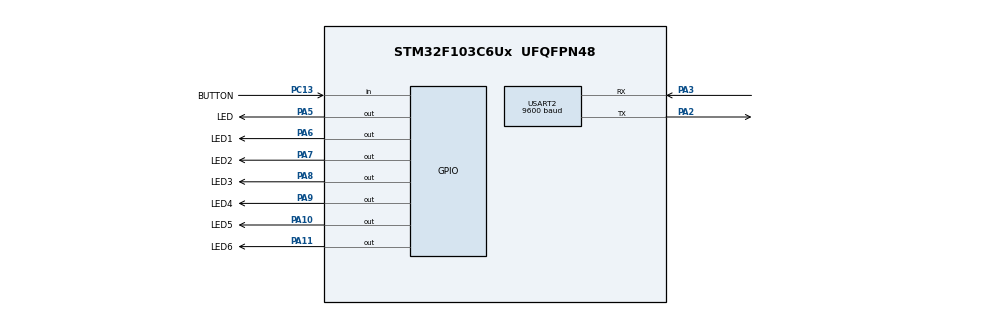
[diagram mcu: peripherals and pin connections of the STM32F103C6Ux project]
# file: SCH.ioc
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Mcu.Family=STM32F1
Mcu.Name=STM32F103C6Ux
Mcu.Package=UFQFPN48
NVIC.PriorityGroup=NVIC_PRIORITYGROUP_4
NVIC.TIM2_IRQn=true\:0\:0\:false\:false\:true\:true\:true\:true
PA10.GPIO_Label=LED5
PA10.Signal=GPIO_Output
PA11.GPIO_Label=LED6
PA11.Signal=GPIO_Output
PA2.Mode=Asynchronous
PA2.Signal=USART2_TX
PA3.Mode=Asynchronous
PA3.Signal=USART2_RX
PA5.GPIO_Label=LED
PA5.Signal=GPIO_Output
PA6.GPIO_Label=LED1
PA6.Signal=GPIO_Output
PA7.GPIO_Label=LED2
PA7.Signal=GPIO_Output
PA8.GPIO_Label=LED3
PA8.Signal=GPIO_Output
PA9.GPIO_Label=LED4
PA9.Signal=GPIO_Output
PC13-TAMPER-RTC.GPIO_Label=BUTTON
PC13-TAMPER-RTC.GPIO_PuPd=GPIO_PULLUP
PC13-TAMPER-RTC.Signal=GPIO_Input
ProjectManager.HeapSize=0x200
ProjectManager.StackSize=0x400
ProjectManager.TargetToolchain=STM32CubeIDE
RCC.APB1Freq_Value=8000000
RCC.APB2Freq_Value=8000000
TIM2.Period=9
TIM2.Prescaler=7999
USART2.BaudRate=9600
USART2.VirtualMode=VM_ASYNC
VP_SYS_VS_ND.Mode=No_Debug
VP_TIM2_VS_ClockSourceINT.Mode=Internal
board=custom

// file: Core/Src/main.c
/* USER CODE BEGIN Header */
/**
  ******************************************************************************
  * @file           : main.c
  * @brief          : Main program body
  ******************************************************************************
  * @attention
  *
  * <h2><center>&copy; Copyright (c) 2022 STMicroelectronics.
  * All rights reserved.</center></h2>
  *
  * This software component is licensed by ST under BSD 3-Clause license,
  * the "License"; You may not use this file except in compliance with the
  * License. You may obtain a copy of the License at:
  *                        opensource.org/licenses/BSD-3-Clause
  *
  ******************************************************************************
  */
/* USER CODE END Header */
#include "main.h"

/* USER CODE BEGIN Includes */
#include "sch.h"
#include "stdio.h"
#include "button.h"
/* USER CODE END Includes */

TIM_HandleTypeDef htim2;

UART_HandleTypeDef huart2;

/* USER CODE BEGIN PV */
int counter=0;
/* USER CODE END PV */

void SystemClock_Config(void);
static void MX_GPIO_Init(void);
static void MX_TIM2_Init(void);
static void MX_USART2_UART_Init(void);
/* USER CODE BEGIN PFP */
void blinking_led(void);
void blinking_led1(void);
void blinking_led2(void);
void blinking_led3(void);
void blinking_led4(void);
void blinking_led5(void);
void blinking_led6(void);
/* USER CODE END PFP */

/* USER CODE BEGIN 0 */
void blinking_led() {
	HAL_GPIO_TogglePin(LED_GPIO_Port, LED_Pin);
	char str[50];
	HAL_UART_Transmit(&huart2, str, sprintf(str, "%d%s", counter, ": Task 0 dispatch\r\n"), 1000);

}

void blinking_led1() {
	HAL_GPIO_TogglePin(LED1_GPIO_Port, LED1_Pin);
	char str[50];
	HAL_UART_Transmit(&huart2, str, sprintf(str, "%d%s", counter, ": Task 1 dispatch\r\n"), 1000);
}

void blinking_led2() {
	HAL_GPIO_TogglePin(LED2_GPIO_Port, LED2_Pin);
	char str[50];
	HAL_UART_Transmit(&huart2, str, sprintf(str, "%d%s", counter, ": Task 2 dispatch\r\n"), 1000);

}

void blinking_led3() {
	char str[50];
	HAL_UART_Transmit(&huart2, str, sprintf(str, "%d%s", counter, ": Task 3 dispatch\r\n"), 1000);
	HAL_GPIO_TogglePin(LED3_GPIO_Port, LED3_Pin);

}

void blinking_led4() {
	char str[50];
	HAL_UART_Transmit(&huart2, str, sprintf(str, "%d%s", counter, ": Task 4 dispatch\r\n"), 1000);
	HAL_GPIO_TogglePin(LED4_GPIO_Port, LED4_Pin);

}
void blinking_led5() {
	char str[50];
	HAL_UART_Transmit(&huart2, str, sprintf(str, "%d%s", counter, ": Task 5 dispatch\r\n"), 1000);
	HAL_GPIO_TogglePin(LED5_GPIO_Port, LED5_Pin);

}
void blinking_led6() {
	char str[50];
	if (flagForButtonPress[0]==1) {
		HAL_UART_Transmit(&huart2, str, sprintf(str, "%d%s", counter, ": Task 6 dispatch\r\n"), 1000);
		HAL_GPIO_TogglePin(LED6_GPIO_Port, LED6_Pin);
		flagForButtonPress[0]=0;
	}

}
/* USER CODE END 0 */

int main(void)
{

  /* MCU Configuration--------------------------------------------------------*/

  /* Reset of all peripherals, Initializes the Flash interface and the Systick. */
  HAL_Init();

  /* USER CODE BEGIN Init */
  SCH_Init();
  /* USER CODE END Init */

  /* Configure the system clock */
  SystemClock_Config();

  /* Initialize all configured peripherals */
  MX_GPIO_Init();
  MX_TIM2_Init();
  MX_USART2_UART_Init();
  /* USER CODE BEGIN 2 */
  HAL_TIM_Base_Start_IT(&htim2);
  SCH_Add_Task(blinking_led, 1, 0);//one shot task
  SCH_Add_Task(blinking_led1, 2, 50);
  SCH_Add_Task(blinking_led2, 3, 100);
  SCH_Add_Task(blinking_led3, 4, 150);
  SCH_Add_Task(blinking_led4, 5, 200);
  SCH_Add_Task(blinking_led5, 6, 250);
  SCH_Add_Task(blinking_led6, 7, 1);//button
  SCH_Add_Task(button_reading, 8, 1);//button
  /* USER CODE END 2 */

  /* Infinite loop */
  /* USER CODE BEGIN WHILE */
  while (1)
  {
	  SCH_Dispatch_Tasks () ;
    /* USER CODE END WHILE */

  }
}

void SystemClock_Config(void)
{
  RCC_OscInitTypeDef RCC_OscInitStruct = {0};
  RCC_ClkInitTypeDef RCC_ClkInitStruct = {0};

  /** Initializes the RCC Oscillators according to the specified parameters
  * in the RCC_OscInitTypeDef structure.
  */
  RCC_OscInitStruct.OscillatorType = RCC_OSCILLATORTYPE_HSI;
  RCC_OscInitStruct.HSIState = RCC_HSI_ON;
  RCC_OscInitStruct.HSICalibrationValue = RCC_HSICALIBRATION_DEFAULT;
  RCC_OscInitStruct.PLL.PLLState = RCC_PLL_NONE;
  if (HAL_RCC_OscConfig(&RCC_OscInitStruct) != HAL_OK)
  {
    Error_Handler();
  }

  /** Initializes the CPU, AHB and APB buses clocks
  */
  RCC_ClkInitStruct.ClockType = RCC_CLOCKTYPE_HCLK|RCC_CLOCKTYPE_SYSCLK
                              |RCC_CLOCKTYPE_PCLK1|RCC_CLOCKTYPE_PCLK2;
  RCC_ClkInitStruct.SYSCLKSource = RCC_SYSCLKSOURCE_HSI;
  RCC_ClkInitStruct.AHBCLKDivider = RCC_SYSCLK_DIV1;
  RCC_ClkInitStruct.APB1CLKDivider = RCC_HCLK_DIV1;
  RCC_ClkInitStruct.APB2CLKDivider = RCC_HCLK_DIV1;

  if (HAL_RCC_ClockConfig(&RCC_ClkInitStruct, FLASH_LATENCY_0) != HAL_OK)
  {
    Error_Handler();
  }
}

static void MX_TIM2_Init(void)
{

  TIM_ClockConfigTypeDef sClockSourceConfig = {0};
  TIM_MasterConfigTypeDef sMasterConfig = {0};

  htim2.Instance = TIM2;
  htim2.Init.Prescaler = 7999;
  htim2.Init.CounterMode = TIM_COUNTERMODE_UP;
  htim2.Init.Period = 9;
  htim2.Init.ClockDivision = TIM_CLOCKDIVISION_DIV1;
  htim2.Init.AutoReloadPreload = TIM_AUTORELOAD_PRELOAD_DISABLE;
  if (HAL_TIM_Base_Init(&htim2) != HAL_OK)
  {
    Error_Handler();
  }
  sClockSourceConfig.ClockSource = TIM_CLOCKSOURCE_INTERNAL;
  if (HAL_TIM_ConfigClockSource(&htim2, &sClockSourceConfig) != HAL_OK)
  {
    Error_Handler();
  }
  sMasterConfig.MasterOutputTrigger = TIM_TRGO_RESET;
  sMasterConfig.MasterSlaveMode = TIM_MASTERSLAVEMODE_DISABLE;
  if (HAL_TIMEx_MasterConfigSynchronization(&htim2, &sMasterConfig) != HAL_OK)
  {
    Error_Handler();
  }

}

static void MX_USART2_UART_Init(void)
{

  huart2.Instance = USART2;
  huart2.Init.BaudRate = 9600;
  huart2.Init.WordLength = UART_WORDLENGTH_8B;
  huart2.Init.StopBits = UART_STOPBITS_1;
  huart2.Init.Parity = UART_PARITY_NONE;
  huart2.Init.Mode = UART_MODE_TX_RX;
  huart2.Init.HwFlowCtl = UART_HWCONTROL_NONE;
  huart2.Init.OverSampling = UART_OVERSAMPLING_16;
  if (HAL_UART_Init(&huart2) != HAL_OK)
  {
    Error_Handler();
  }

}

static void MX_GPIO_Init(void)
{
  GPIO_InitTypeDef GPIO_InitStruct = {0};

  /* GPIO Ports Clock Enable */
  __HAL_RCC_GPIOC_CLK_ENABLE();
  __HAL_RCC_GPIOA_CLK_ENABLE();

  /*Configure GPIO pin Output Level */
  HAL_GPIO_WritePin(GPIOA, LED_Pin|LED1_Pin|LED2_Pin|LED3_Pin
                          |LED4_Pin|LED5_Pin|LED6_Pin, GPIO_PIN_RESET);

  /*Configure GPIO pin : BUTTON_Pin */
  GPIO_InitStruct.Pin = BUTTON_Pin;
  GPIO_InitStruct.Mode = GPIO_MODE_INPUT;
  GPIO_InitStruct.Pull = GPIO_PULLUP;
  HAL_GPIO_Init(BUTTON_GPIO_Port, &GPIO_InitStruct);

  /*Configure GPIO pins : LED_Pin LED1_Pin LED2_Pin LED3_Pin
                           LED4_Pin LED5_Pin LED6_Pin */
  GPIO_InitStruct.Pin = LED_Pin|LED1_Pin|LED2_Pin|LED3_Pin
                          |LED4_Pin|LED5_Pin|LED6_Pin;
  GPIO_InitStruct.Mode = GPIO_MODE_OUTPUT_PP;
  GPIO_InitStruct.Pull = GPIO_NOPULL;
  GPIO_InitStruct.Speed = GPIO_SPEED_FREQ_LOW;
  HAL_GPIO_Init(GPIOA, &GPIO_InitStruct);

}

/* USER CODE BEGIN 4 */
void HAL_TIM_PeriodElapsedCallback(TIM_HandleTypeDef *htim) {
	SCH_Update() ;
	counter+=10;
}
/* USER CODE END 4 */

void Error_Handler(void)
{
  __disable_irq();
  while (1)
  {
  }
}
